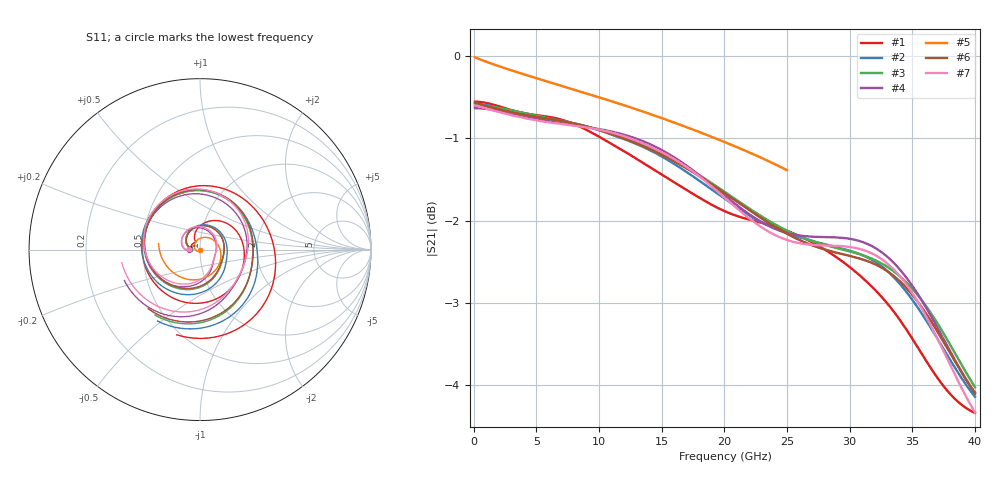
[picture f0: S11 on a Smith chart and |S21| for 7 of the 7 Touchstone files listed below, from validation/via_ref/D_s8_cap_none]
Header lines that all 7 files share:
# Hz S RI R 50
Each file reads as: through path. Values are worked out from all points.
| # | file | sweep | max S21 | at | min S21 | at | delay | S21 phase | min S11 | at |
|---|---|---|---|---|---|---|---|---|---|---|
| 1 | cst.s2p | 100 MHz to 40 GHz | -0.56 dB | 100 MHz | -4.3 dB | 40 GHz | 53.8 ps | -31 deg at 20.1 GHz | -26.2 dB | 3.3 GHz |
| 2 | cst_fine.s2p | 100 MHz to 40 GHz | -0.59 dB | 100 MHz | -4.1 dB | 40 GHz | 54 ps | -33 deg at 20.1 GHz | -25.6 dB | 2.5 GHz |
| 3 | kisi.s2p | 100 MHz to 40 GHz | -0.61 dB | 100 MHz | -4.0 dB | 40 GHz | 54 ps | -33 deg at 20.1 GHz | -26.4 dB | 2.8 GHz |
| 4 | kisi_base.s2p | 100 MHz to 40 GHz | -0.64 dB | 100 MHz | -4.1 dB | 40 GHz | 55.2 ps | -41 deg at 20.1 GHz | -24.0 dB | 1.6 GHz |
| 5 | kisi_model.s2p | 100 MHz to 25 GHz | -0.02 dB | 100 MHz | -1.4 dB | 25 GHz | 51.2 ps | 127 deg at 12.6 GHz | -55.6 dB | 100 MHz |
| 6 | openems.s2p | 100 MHz to 40 GHz | -0.57 dB | 100 MHz | -4.1 dB | 40 GHz | 54.3 ps | -35 deg at 20.1 GHz | -26.1 dB | 2.4 GHz |
| 7 | openems_base.s2p | 100 MHz to 40 GHz | -0.61 dB | 100 MHz | -4.3 dB | 40 GHz | 55.6 ps | -44 deg at 20.1 GHz | -24.2 dB | 1.2 GHz |
